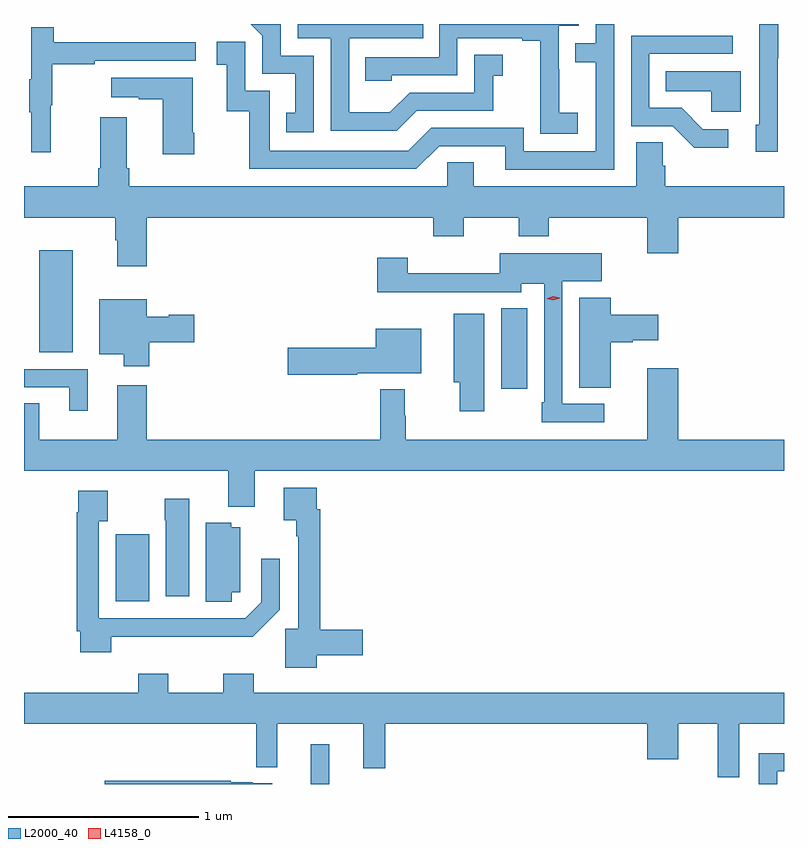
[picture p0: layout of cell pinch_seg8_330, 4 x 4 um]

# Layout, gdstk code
import gdstk
lib = gdstk.Library(unit=1e-6, precision=1e-09)
def R(c, l, rs):  # rectangles x0, y0, x1, y1
    for r in rs: c.add(gdstk.rectangle(r[:2], r[2:], *l))
def P(c, l, *ps):  # polygons
    for p in ps: c.add(gdstk.Polygon(p, *l))
L2000_40 = (2000, 40)
L4158_0 = (4158, 0)

pinch_seg8_330 = lib.new_cell('pinch_seg8_330')
R(pinch_seg8_330, L2000_40, [(426.975,1157.475,427.072,1157.683), (427.976,1159.554,428.113,1159.979), (425.546,1159.748,425.722,1160.284)])
P(pinch_seg8_330, L2000_40, [(429.432,1161.295),(429.435,1161.295),(429.435,1161.475),(429.335,1161.475),(429.335,1161.25),(429.336,1161.25),(429.336,1160.946),(429.317,1160.946),(429.317,1160.802),(429.432,1160.802)],
  [(428.571,1161.475),(428.475,1161.475),(428.475,1161.375),(428.365,1161.375),(428.365,1161.274),(428.475,1161.274),(428.475,1160.805),(428.094,1160.805),(428.094,1160.928),(427.608,1160.928),(427.488,1160.808),(426.759,1160.808),(426.759,1161.123),(426.63,1161.123),(426.63,1161.382),(426.48,1161.382),(426.48,1161.261),(426.533,1161.261),(426.533,1161.015),(426.651,1161.015),(426.651,1160.712),(427.53,1160.712),(427.65,1160.832),(427.997,1160.832),(427.997,1160.709),(428.571,1160.709)],
  [(427.531,1161.018),(427.935,1161.018),(427.935,1161.203),(427.984,1161.203),(427.984,1161.313),(427.836,1161.313),(427.836,1161.114),(427.494,1161.114),(427.39,1161.01),(427.176,1161.01),(427.176,1161.399),(427.565,1161.399),(427.565,1161.475),(426.906,1161.475),(426.906,1161.399),(427.08,1161.399),(427.08,1160.913),(427.426,1160.913)],
  [(426.99,1161.309),(426.816,1161.309),(426.816,1161.475),(426.659,1161.475),(426.72,1161.414),(426.72,1161.213),(426.893,1161.213),(426.893,1161.009),(426.844,1161.009),(426.844,1160.904),(426.99,1160.904)],
  [(428.38,1161.007),(428.282,1161.007),(428.282,1161.236),(428.28,1161.236),(428.28,1161.465),(428.385,1161.465),(428.385,1161.475),(427.65,1161.475),(427.65,1161.3),(427.261,1161.3),(427.261,1161.177),(427.401,1161.177),(427.401,1161.204),(427.746,1161.204),(427.746,1161.399),(428.087,1161.399),(428.087,1161.387),(428.183,1161.387),(428.183,1161.103),(428.182,1161.103),(428.182,1160.897),(428.38,1160.897)],
  [(425.606,1161.048),(425.614,1161.048),(425.614,1161.262),(425.837,1161.262),(425.837,1161.282),(426.37,1161.282),(426.37,1161.378),(425.621,1161.378),(425.621,1161.457),(425.504,1161.457),(425.504,1161.185),(425.493,1161.185),(425.493,1161.011),(425.504,1161.011),(425.504,1160.799),(425.606,1160.799)],
  [(429.172,1160.922),(429.037,1160.922),(428.926,1161.033),(428.757,1161.033),(428.757,1161.318),(429.196,1161.318),(429.196,1161.414),(428.661,1161.414),(428.661,1160.937),(428.88,1160.937),(428.993,1160.825),(429.172,1160.825)],
  [(429.238,1161.226),(428.842,1161.226),(428.842,1161.122),(429.081,1161.122),(429.081,1161.014),(429.238,1161.014)],
  [(426.36,1160.902),(426.352,1160.902),(426.352,1161.193),(425.925,1161.193),(425.925,1161.089),(426.068,1161.089),(426.068,1161.079),(426.194,1161.079),(426.194,1160.79),(426.36,1160.79)],
  [(426.11,1160.456),(427.619,1160.456),(427.619,1160.357),(427.779,1160.357),(427.779,1160.456),(428.068,1160.456),(428.068,1160.357),(428.228,1160.357),(428.228,1160.456),(428.744,1160.456),(428.744,1160.268),(428.908,1160.268),(428.908,1160.456),(429.465,1160.456),(429.465,1160.62),(428.84,1160.62),(428.84,1160.729),(428.826,1160.729),(428.826,1160.852),(428.687,1160.852),(428.687,1160.62),(427.831,1160.62),(427.831,1160.747),(427.692,1160.747),(427.692,1160.62),(426.02,1160.62),(426.02,1160.716),(426.007,1160.716),(426.007,1160.983),(425.867,1160.983),(425.867,1160.716),(425.855,1160.716),(425.855,1160.62),(425.465,1160.62),(425.465,1160.456),(425.945,1160.456),(425.945,1160.336),(425.957,1160.336),(425.957,1160.199),(426.11,1160.199)],
  [(428.518,1159.476),(428.298,1159.476),(428.298,1160.12),(428.506,1160.12),(428.506,1160.269),(427.97,1160.269),(427.97,1160.162),(427.485,1160.162),(427.485,1160.245),(427.325,1160.245),(427.325,1160.063),(427.573,1160.063),(427.573,1160.064),(428.083,1160.064),(428.083,1160.108),(428.202,1160.108),(428.202,1159.483),(428.19,1159.483),(428.19,1159.38),(428.518,1159.38)],
  [(428.554,1159.799),(428.67,1159.799),(428.67,1159.811),(428.803,1159.811),(428.803,1159.946),(428.554,1159.946),(428.554,1160.035),(428.387,1160.035),(428.387,1159.561),(428.554,1159.561)],
  [(426.125,1159.799),(426.361,1159.799),(426.361,1159.946),(426.228,1159.946),(426.228,1159.933),(426.112,1159.933),(426.112,1160.026),(425.861,1160.026),(425.861,1159.736),(425.99,1159.736),(425.99,1159.674),(426.125,1159.674)],
  [(427.888,1159.951),(427.727,1159.951),(427.727,1159.589),(427.759,1159.589),(427.759,1159.437),(427.888,1159.437)],
  [(427.22,1159.637),(427.555,1159.637),(427.555,1159.87),(427.316,1159.87),(427.316,1159.772),(426.852,1159.772),(426.852,1159.63),(427.22,1159.63)],
  [(426.679,1159.124),(429.465,1159.124),(429.465,1159.288),(428.908,1159.288),(428.908,1159.663),(428.744,1159.663),(428.744,1159.288),(427.475,1159.288),(427.475,1159.412),(427.468,1159.412),(427.468,1159.552),(427.34,1159.552),(427.34,1159.288),(426.11,1159.288),(426.11,1159.573),(425.957,1159.573),(425.957,1159.288),(425.545,1159.288),(425.545,1159.478),(425.465,1159.478),(425.465,1159.124),(426.539,1159.124),(426.539,1158.935),(426.679,1158.935)],
  [(425.8,1159.659),(425.465,1159.659),(425.465,1159.563),(425.702,1159.563),(425.702,1159.44),(425.8,1159.44)],
  [(427.006,1158.152),(427.249,1158.152),(427.249,1158.287),(427.025,1158.287),(427.025,1158.92),(427.005,1158.92),(427.005,1159.033),(426.831,1159.033),(426.831,1158.863),(426.897,1158.863),(426.897,1158.779),(426.909,1158.779),(426.909,1158.291),(426.84,1158.291),(426.84,1158.087),(427.006,1158.087)],
  [(425.923,1158.251),(426.669,1158.251),(426.81,1158.392),(426.81,1158.661),(426.714,1158.661),(426.714,1158.432),(426.63,1158.348),(425.859,1158.348),(425.859,1158.858),(425.905,1158.858),(425.905,1159.018),(425.751,1159.018),(425.751,1158.905),(425.743,1158.905),(425.743,1158.28),(425.762,1158.28),(425.762,1158.168),(425.923,1158.168)],
  [(426.334,1158.976),(426.205,1158.976),(426.205,1158.863),(426.212,1158.863),(426.212,1158.462),(426.334,1158.462)],
  [(426.558,1158.483),(426.604,1158.483),(426.604,1158.826),(426.555,1158.826),(426.555,1158.85),(426.422,1158.85),(426.422,1158.433),(426.558,1158.433)],
  [(426.124,1158.789),(425.949,1158.789),(425.949,1158.686),(425.948,1158.686),(425.948,1158.437),(426.124,1158.437)],
  [(429.229,1157.792),(429.465,1157.792),(429.465,1157.956),(426.674,1157.956),(426.674,1158.055),(426.514,1158.055),(426.514,1157.956),(426.225,1157.956),(426.225,1158.055),(426.065,1158.055),(426.065,1157.956),(425.465,1157.956),(425.465,1157.792),(426.688,1157.792),(426.688,1157.563),(426.797,1157.563),(426.797,1157.792),(427.25,1157.792),(427.25,1157.559),(427.367,1157.559),(427.367,1157.792),(428.744,1157.792),(428.744,1157.604),(428.908,1157.604),(428.908,1157.792),(429.116,1157.792),(429.116,1157.511),(429.229,1157.511)],
  [(429.429,1157.541),(429.465,1157.541),(429.465,1157.638),(429.333,1157.638),(429.333,1157.475),(429.429,1157.475)],
  [(426.772,1157.478),(426.668,1157.478),(426.668,1157.484),(426.554,1157.484),(426.554,1157.491),(425.891,1157.491),(425.891,1157.475),(426.772,1157.475)])
P(pinch_seg8_330, L4158_0, [(428.25,1160.021),(428.215,1160.03),(428.214,1160.03),(428.215,1160.03),(428.249,1160.041),(428.284,1160.033),(428.284,1160.032),(428.284,1160.032)])

lib.write_gds('pinch_seg8_330.gds')
